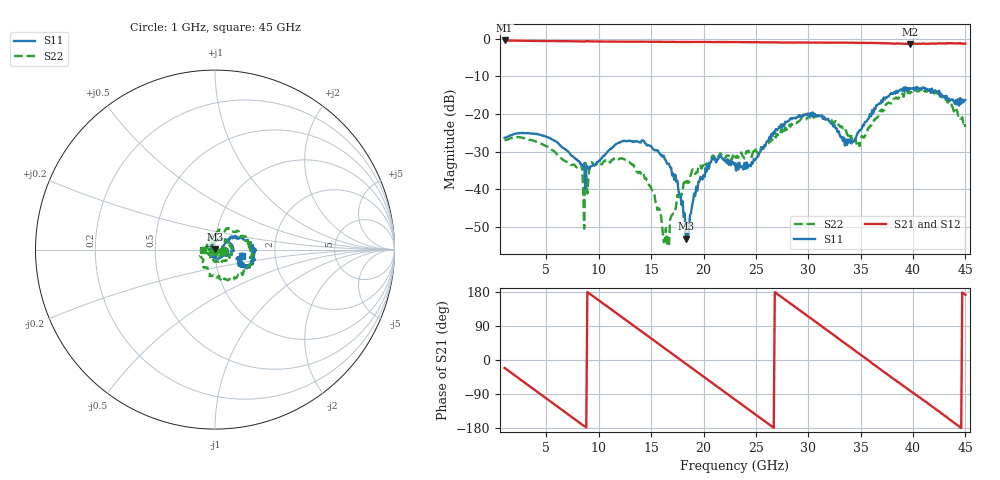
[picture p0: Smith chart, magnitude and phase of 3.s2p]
!Keysight Technologies,N5247B,MY61255062,A.19.80.06
!Date: Monday, May 18, 2026 12:00:49
!Correction: S11(Cdelta 2-Port  )
!S21(Cdelta 2-Port  )
!S12(Cdelta 2-Port  )
!S22(Cdelta 2-Port  )
!S2P File: Measurements: S11, S21, S12, S22:
# Hz S  dB  R 50
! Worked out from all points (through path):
!   441 points, 1 GHz to 45 GHz, reference 50 ohm
!   highest |S21| = -0.42 dB at 1 GHz (marker M1); lowest = -1.4 dB at 39.7 GHz (marker M2)
!   group delay of S21, straight-line fit = 55.9 ps
!   lowest |S11| = -53.1 dB at 18.3 GHz (marker M3), VSWR 1.00, Z = 49.9 + j0.203 ohm
!   |S11| at or under -10 dB: start of sweep to end of sweep
!   |S22| runs from -55.2 to -13.2 dB; largest |S21 - S12| = 0.013
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1e9  -26.31 -7.3  -0.42 -20.9  -0.42 -21.0  -26.86 -8.0
4.6e9  -25.74 -75.6  -0.57 -93.7  -0.57 -93.8  -28.05 -68.3
8.2e9  -32.92 -105.3  -0.65 -166.5  -0.65 -166.5  -33.09 -81.1
8.4e9  -33.78 -102.9  -0.66 -170.6  -0.67 -170.6  -34.68 -67.5
1.02e10  -31.86 -73.8  -0.70 153.3  -0.70 153.3  -33.33 -83.3
1.24e10  -27.12 -96.8  -0.75 109.2  -0.75 109.2  -31.98 -110.0
1.43e10  -27.14 -127.2  -0.76 70.9  -0.76 70.9  -36.15 -147.6
1.57e10  -30.08 -147.3  -0.78 42.6  -0.78 42.5  -45.05 -177.4
1.65e10  -33.22 -169.4  -0.80 26.5  -0.81 26.5  -55.15 113.1
1.75e10  -37.77 179.6  -0.82 6.4  -0.83 6.4  -41.51 6.5
1.83e10  -53.15 112.6  -0.83 -9.5  -0.83 -9.6  -37.26 -3.0
2.08e10  -31.92 -50.8  -0.85 -60.0  -0.85 -60.0  -31.22 -51.4
2.3e10  -33.10 -114.6  -0.85 -104.3  -0.85 -104.4  -30.64 -103.3
2.44e10  -33.77 175.0  -0.88 -132.6  -0.88 -132.7  -31.15 -146.6
2.67e10  -24.70 75.5  -0.93 -178.9  -0.93 -179.0  -26.40 107.4
3.04e10  -19.54 -3.7  -0.99 106.9  -0.99 106.7  -21.24 0.2
3.23e10  -22.65 -23.8  -1.00 68.7  -1.03 68.4  -22.01 -49.9
3.44e10  -27.12 21.5  -1.06 26.0  -1.01 25.8  -27.08 -149.0
3.77e10  -15.24 18.0  -1.20 -40.7  -1.21 -41.0  -16.99 55.2
3.97e10  -13.12 -2.0  -1.37 -80.8  -1.35 -80.5  -14.48 5.0
4.19e10  -14.15 -30.4  -1.26 -124.3  -1.25 -124.2  -14.07 -53.5
4.5e10  -16.22 -13.1  -1.24 172.2  -1.25 172.1  -23.44 -176.6
